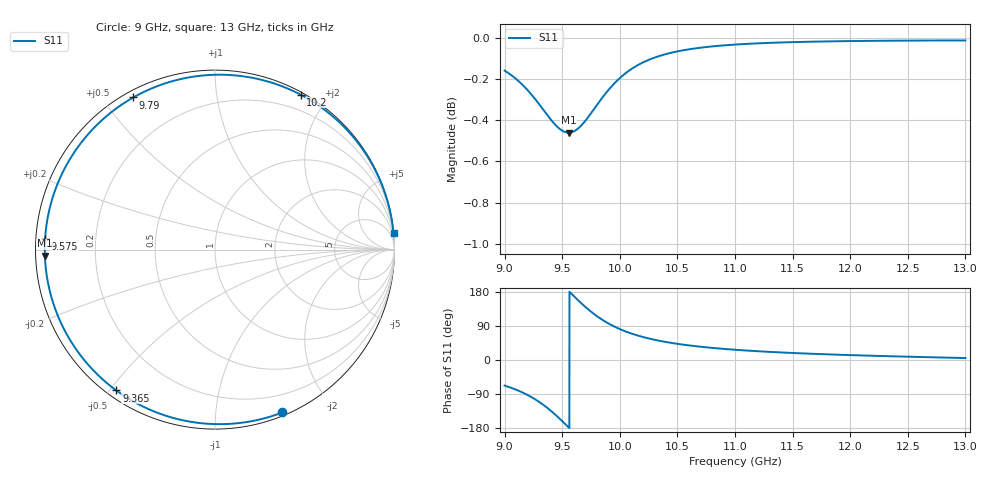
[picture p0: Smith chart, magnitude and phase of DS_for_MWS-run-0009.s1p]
! TOUCHSTONE file generated by CST DESIGN STUDIO
! Date and time: Tue Feb  4 13:59:21 2025
! Project name: C:\Work\MatlabApps\UnitCellOptimizationMatlab\CST\unitcell.cst
! Tree item: Tasks\Sweep1\SPara1\S-Parameters
! Header version: 2024
! Port assignment regex: !\s*Touchstone port\s*([0-9]+)\s*=\s*(CST MWS port|CST DES external port|CST DES block port)\s*(.+)\s* \(\"(.*)\"\)(\s*mode\s*([0-9]+))?.*
! Touchstone port assignment:
! Touchstone port 1 = CST DES external port 1 ("")
# GHz S MA R 50
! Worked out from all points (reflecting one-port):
!   4001 points, 9 GHz to 13 GHz, reference 50 ohm
!   lowest |S11| = -0.5 dB at 9.556 GHz (marker M1), VSWR 37.80, Z = 1.32 - j0.911 ohm
!   phase of S11 starts at -67 deg and turns -287 deg over the sweep
!   S11 on the Smith chart (normalised r, x): 9 GHz: 0.03, -1.50; 9.365 GHz: 0.03, -0.52; 9.575 GHz: 0.03, +0.03; 9.79 GHz: 0.03, +0.60; 10.2 GHz: 0.03, +1.69; 13 GHz: 0, +22
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9  0.9819 -67.5
9.041  0.9802 -71.6
9.107  0.977 -79.3
9.219  0.9699 -95.6
9.296  0.9639 -109.8
9.365  0.9582 -125.0
9.431  0.9532 -141.7
9.5  0.9495 -161.2
9.556  0.9485 -177.9
9.575  0.9486 176.4
9.63  0.9502 160.0
9.69  0.9539 143.0
9.74  0.9579 130.0
9.79  0.9622 118.2
9.835  0.9661 108.7
9.884  0.97 99.4
9.938  0.974 90.5
10  0.9778 81.6
10.094  0.9825 70.6
10.196  0.9863 61.1
10.335  0.9898 51.3
10.5  0.9925 42.6
10.721  0.9948 34.3
11  0.9963 27.0
11.5  0.9977 18.5
12  0.9983 12.9
12.5  0.9986 8.7
13  0.9986 5.2
